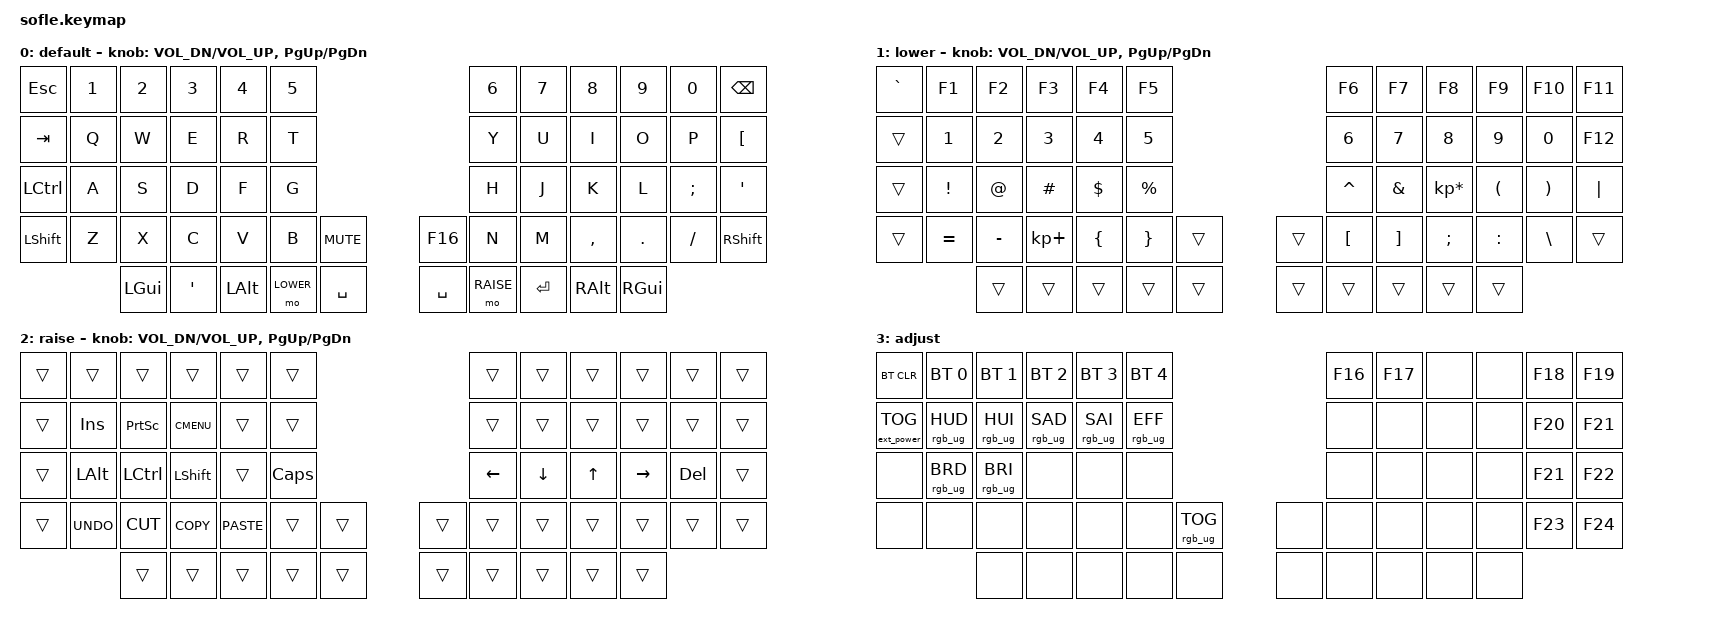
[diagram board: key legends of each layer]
/*
 * Copyright (c) 2020 The ZMK Contributors
 *
 * SPDX-License-Identifier: MIT
 */

#include <behaviors.dtsi>
#include <dt-bindings/zmk/keys.h>
#include <dt-bindings/zmk/bt.h>
#include <dt-bindings/zmk/rgb.h>
#include <dt-bindings/zmk/ext_power.h>

#define BASE 0
#define LOWER 1
#define RAISE 2
#define ADJUST 3

/ {

    conditional_layers {
        compatible = "zmk,conditional-layers";
        adjust_layer {
            if-layers = <LOWER RAISE>;
            then-layer = <ADJUST>;
        };
    };


    keymap {
        compatible = "zmk,keymap";
        default_layer {
            display-name = "default";
            bindings = <
//    ┌──────┬───┬──────┬───┬──────┬──────────┐                    ┌────────────┬─────┬──────┬──────┬───┬──────┐
//    │ esc  │ 1 │  2   │ 3 │  4   │    5     │                    │     6      │  7  │  8   │  9   │ 0 │ bspc │
//    ├──────┼───┼──────┼───┼──────┼──────────┤                    ├────────────┼─────┼──────┼──────┼───┼──────┤
//    │ tab  │ Q │  W   │ E │  R   │    T     │                    │     Y      │  U  │  I   │  O   │ P │  [   │
//    ├──────┼───┼──────┼───┼──────┼──────────┤                    ├────────────┼─────┼──────┼──────┼───┼──────┤
//    │ lctl │ A │  S   │ D │  F   │    G     │                    │     H      │  J  │  K   │  L   │ ; │  '   │
//    ├──────┼───┼──────┼───┼──────┼──────────┼──────┐       ┌─────┼────────────┼─────┼──────┼──────┼───┼──────┤
//    │ lsft │ Z │  X   │ C │  V   │    B     │ mute │       │ f16 │     N      │  M  │  ,   │  .   │ / │ rsft │
//    └──────┴───┼──────┼───┼──────┼──────────┼──────┤       ├─────┼────────────┼─────┼──────┼──────┼───┴──────┘
//               │ lgui │ ' │ lalt │ mo LOWER │ spc  │       │ spc │ mo raltISE │ ent │ ralt │ rgui │
//               └──────┴───┴──────┴──────────┴──────┘       └─────┴────────────┴─────┴──────┴──────┘
  &kp ESC     &kp N1   &kp N2     &kp N3    &kp N4     &kp N5                                       &kp N6      &kp N7    &kp N8      &kp N9     &kp N0      &kp BSPC
  &kp TAB     &kp Q    &kp W      &kp E     &kp R      &kp T                                        &kp Y       &kp U     &kp I       &kp O      &kp P       &kp LBKT
  &kp LCTRL   &kp A    &kp S      &kp D     &kp F      &kp G                                        &kp H       &kp J     &kp K       &kp L      &kp SEMI    &kp SQT
  &kp LSHFT   &kp Z    &kp X      &kp C     &kp V      &kp B       &kp C_MUTE           &kp F16     &kp N       &kp M     &kp COMMA   &kp DOT    &kp SLASH   &kp RSHFT
                       &kp LGUI   &kp SQT   &kp LALT   &mo LOWER   &kp SPACE            &kp SPACE   &mo RAISE   &kp RET   &kp RALT    &kp RGUI
            >;

            sensor-bindings = <&inc_dec_kp C_VOL_DN C_VOL_UP &inc_dec_kp PG_UP PG_DN>;
        };

        lower_layer {
            display-name = "lower";
            bindings = <
//    ┌─────┬────┬─────┬──────┬─────┬─────┐                   ┌─────┬─────┬──────┬─────┬─────┬─────┐
//    │  `  │ f1 │ f2  │  f3  │ f4  │ f5  │                   │ f6  │ f7  │  f8  │ f9  │ f10 │ f11 │
//    ├─────┼────┼─────┼──────┼─────┼─────┤                   ├─────┼─────┼──────┼─────┼─────┼─────┤
//    │     │ 1  │  2  │  3   │  4  │  5  │                   │  6  │  7  │  8   │  9  │  0  │ f12 │
//    ├─────┼────┼─────┼──────┼─────┼─────┤                   ├─────┼─────┼──────┼─────┼─────┼─────┤
//    │     │ !  │  @  │  #   │  $  │  %  │                   │  ^  │  &  │ kp_* │  (  │  )  │  |  │
//    ├─────┼────┼─────┼──────┼─────┼─────┼─────┐       ┌─────┼─────┼─────┼──────┼─────┼─────┼─────┤
//    │     │ =  │  -  │ kp_+ │  {  │  }  │     │       │     │  [  │  ]  │  ;   │  :  │  \  │     │
//    └─────┴────┼─────┼──────┼─────┼─────┼─────┤       ├─────┼─────┼─────┼──────┼─────┼─────┴─────┘
//               │     │      │     │     │     │       │     │     │     │      │     │
//               └─────┴──────┴─────┴─────┴─────┘       └─────┴─────┴─────┴──────┴─────┘
  &kp GRAVE   &kp F1      &kp F2      &kp F3        &kp F4     &kp F5                                &kp F6      &kp F7     &kp F8            &kp F9      &kp F10    &kp F11
  &trans      &kp N1      &kp N2      &kp N3        &kp N4     &kp N5                                &kp N6      &kp N7     &kp N8            &kp N9      &kp N0     &kp F12
  &trans      &kp EXCL    &kp AT      &kp HASH      &kp DLLR   &kp PRCNT                             &kp CARET   &kp AMPS   &kp KP_MULTIPLY   &kp LPAR    &kp RPAR   &kp PIPE
  &trans      &kp EQUAL   &kp MINUS   &kp KP_PLUS   &kp LBRC   &kp RBRC    &trans           &trans   &kp LBKT    &kp RBKT   &kp SEMI          &kp COLON   &kp BSLH   &trans
                          &trans      &trans        &trans     &trans      &trans           &trans   &trans      &trans     &trans            &trans
            >;

            sensor-bindings = <&inc_dec_kp C_VOL_DN C_VOL_UP &inc_dec_kp PG_UP PG_DN>;
        };

        raise_layer {
            display-name = "raise";
            bindings = <
//    ┌─────┬──────┬──────┬──────┬─────────┬──────┐                   ┌──────┬──────┬─────┬──────┬─────┬─────┐
//    │     │      │      │      │         │      │                   │      │      │     │      │     │     │
//    ├─────┼──────┼──────┼──────┼─────────┼──────┤                   ├──────┼──────┼─────┼──────┼─────┼─────┤
//    │     │ ins  │ pscr │ app  │         │      │                   │      │      │     │      │     │     │
//    ├─────┼──────┼──────┼──────┼─────────┼──────┤                   ├──────┼──────┼─────┼──────┼─────┼─────┤
//    │     │ lalt │ lctl │ lsft │         │ caps │                   │ left │ down │ up  │ rght │ del │     │
//    ├─────┼──────┼──────┼──────┼─────────┼──────┼─────┐       ┌─────┼──────┼──────┼─────┼──────┼─────┼─────┤
//    │     │ undo │ cut  │ copy │ K_PASTE │      │     │       │     │      │      │     │      │     │     │
//    └─────┴──────┼──────┼──────┼─────────┼──────┼─────┤       ├─────┼──────┼──────┼─────┼──────┼─────┴─────┘
//                 │      │      │         │      │     │       │     │      │      │     │      │
//                 └──────┴──────┴─────────┴──────┴─────┘       └─────┴──────┴──────┴─────┴──────┘
  &trans   &trans       &trans      &trans        &trans        &trans                               &trans     &trans     &trans   &trans      &trans    &trans
  &trans   &kp INS      &kp PSCRN   &kp K_CMENU   &trans        &trans                               &trans     &trans     &trans   &trans      &trans    &trans
  &trans   &kp LALT     &kp LCTRL   &kp LSHFT     &trans        &kp CLCK                             &kp LEFT   &kp DOWN   &kp UP   &kp RIGHT   &kp DEL   &trans
  &trans   &kp K_UNDO   &kp K_CUT   &kp K_COPY    &kp K_PASTE   &trans     &trans           &trans   &trans     &trans     &trans   &trans      &trans    &trans
                        &trans      &trans        &trans        &trans     &trans           &trans   &trans     &trans     &trans   &trans
            >;

            sensor-bindings = <&inc_dec_kp C_VOL_DN C_VOL_UP &inc_dec_kp PG_UP PG_DN>;
        };

        adjust_layer {
            display-name = "adjust";
            bindings = <
//    ┌───────────┬──────────┬──────────┬──────────┬──────────┬──────────┐                       ┌─────┬─────┬─────┬─────┬─────┬─────┐
//    │  bt_clr   │ bt_sel 0 │ bt_sel 1 │ bt_sel 2 │ bt_sel 3 │ bt_sel 4 │                       │ f16 │ f17 │     │     │ f18 │ f19 │
//    ├───────────┼──────────┼──────────┼──────────┼──────────┼──────────┤                       ├─────┼─────┼─────┼─────┼─────┼─────┤
//    │ epwr_ tog │ ug_ hu-  │ ug_ hu+  │ ug_ sa-  │ ug_ sa+  │ ug_ eff  │                       │     │     │     │     │ f20 │ f21 │
//    ├───────────┼──────────┼──────────┼──────────┼──────────┼──────────┤                       ├─────┼─────┼─────┼─────┼─────┼─────┤
//    │           │ ug_ br-  │ ug_ br+  │          │          │          │                       │     │     │     │     │ f21 │ f22 │
//    ├───────────┼──────────┼──────────┼──────────┼──────────┼──────────┼─────────┐       ┌─────┼─────┼─────┼─────┼─────┼─────┼─────┤
//    │           │          │          │          │          │          │ ug_ tog │       │     │     │     │     │     │ f23 │ f24 │
//    └───────────┴──────────┼──────────┼──────────┼──────────┼──────────┼─────────┤       ├─────┼─────┼─────┼─────┼─────┼─────┴─────┘
//                           │          │          │          │          │         │       │     │     │     │     │     │
//                           └──────────┴──────────┴──────────┴──────────┴─────────┘       └─────┴─────┴─────┴─────┴─────┘
  &bt BT_CLR          &bt BT_SEL 0      &bt BT_SEL 1      &bt BT_SEL 2      &bt BT_SEL 3      &bt BT_SEL 4                                        &kp F16   &kp F17   &none   &none   &kp F18   &kp F19
  &ext_power EP_TOG   &rgb_ug RGB_HUD   &rgb_ug RGB_HUI   &rgb_ug RGB_SAD   &rgb_ug RGB_SAI   &rgb_ug RGB_EFF                                     &none     &none     &none   &none   &kp F20   &kp F21
  &none               &rgb_ug RGB_BRD   &rgb_ug RGB_BRI   &none             &none             &none                                               &none     &none     &none   &none   &kp F21   &kp F22
  &none               &none             &none             &none             &none             &none             &rgb_ug RGB_TOG           &none   &none     &none     &none   &none   &kp F23   &kp F24
                                        &none             &none             &none             &none             &none                     &none   &none     &none     &none   &none
            >;
        };

    };
};
